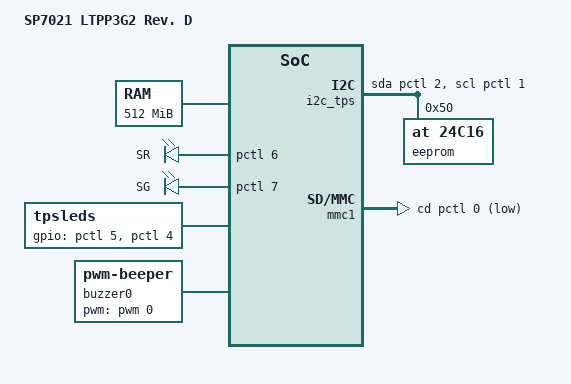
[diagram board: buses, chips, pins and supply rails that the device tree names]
/dts-v1/;

#include "sp7021-ChipC.dtsi"

/ {
	model = "SP7021 LTPP3G2 Rev. D";

	chosen {
		bootargs = "console=ttyS0,115200 root=/dev/ram rw loglevel=8 earlyprintk";
		stdout-path = "serial0:115200n8";
	};

	memory {
		reg = <0x00000000 0x20000000>; /* 512MB */
	};
};

&rtc {  charging-mode = <0x0E>;  };

&sp_spinor0 {  status = "disabled";  };
&spi_controller0 {  status = "disabled";  };
&spi_controller1 {  status = "disabled";  };
&spi_controller2 {  status = "disabled";  };
&spi_controller3 {  status = "disabled";  };

&sdio {
 pinctrl-names = "default";
 pinctrl-0 = <&pins_sdio &pins_sdio_reset>;
 bus-width = <4>;
 max-frequency = <40000000>; /* up to 52 */
 // this: enable
 status = "disabled";
 brcmf1: bcrmf@1 {
   reg = <1>;
   compatible = "android,bcmdhd_wlan";
   reset-gpios = <&pctl 83 GPIO_ACTIVE_LOW>;
 };
};

&sp_uphy0 {
 pinctrl-names = "default";
 pinctrl-0 = <&pins_vbus_usb0>;
 vbus-gpio = <&pctl 90 GPIO_ACTIVE_HIGH>;
};

&sp_uphy1 {
  pinctrl-names = "default";
  pinctrl-0 = <&pins_vbus_usb1>;
  vbus-gpio = <&pctl 91 GPIO_ACTIVE_HIGH>;
};

&l2sw {
 pinctrl-names = "default";
 pinctrl-0 = <&ethA_pins &eth0_pins &eth1_pins>;
};

&mmc0 {
 pinctrl-names = "default";
 pinctrl-0 = <&emmc_mux>;
};

&mmc1 {
 pinctrl-names = "default";
 pinctrl-0 = <&mmc1_mux>;
 cd-gpios = <&pctl 0 GPIO_ACTIVE_LOW>;
};

&hdmitx {
 pinctrl-names = "default";
 pinctrl-0 = <&hdmi_A_tx1>;
};

&uart1 {
 pinctrl-names = "default";
 pinctrl-0 = <&pins_uart1>;
 status = "disabled";
 // this: enable, pins_uart1
};
&uart2 {
 pinctrl-names = "default";
 pinctrl-0 = <&pins_uart2>;
 status = "disabled";
 // this: enable, pins_uart2
};
&uart3 {
 pinctrl-names = "default";
 pinctrl-0 = <&pins_uart3>;
 status = "disabled";
 // this: enable, pins_uart3
};
&uart4 {
 pinctrl-names = "default";
 /* pinctrl-0 = <&pins_uart4>; */
 pinctrl-0 = <&pins_btuart &pins_bt_reset>;
 status = "disabled";
 // this: enable (bt) | enable (uart4), pins_uart4
};

&i2cm0 {  status = "disabled";  };
&i2cm1 {  status = "disabled";  };
&i2cm2 {  status = "disabled";  };
&i2cm3 {  status = "disabled";  };

&pctl {
 /*** all non-device binded that you want to set mode ***/
 pinctrl-names = "default";
 pinctrl-0 = <&pins_iopp_nobinded &pins_gpio_nobinded &func_zero>;

 /* detouch any preset pins from this functions */
 func_zero: func_zero {
   sppctl,zero_func = <
     MUXF_L2SW_LED_FLASH0
     MUXF_L2SW_LED_ON0
     MUXF_L2SW_LED_FLASH1
     MUXF_L2SW_LED_ON1
     MUXF_L2SW_P0_MAC_RMII_RXER
     MUXF_L2SW_P1_MAC_RMII_RXER
     GROP_SPI_FLASH
   >;
 };
 
 pins_iopp_nobinded: pins_iopp_nobinded {
    sppctl,pins = <
    /* SPPCTL_IOPAD(97,SPPCTL_PCTL_G_IOPP,0,0) */
    >;
 };
 pins_gpio_nobinded: pins_gpio_nobinded {
    sppctl,pins = <
      /*SPPCTL_IOPAD(42,SPPCTL_PCTL_G_GPIO,0,0)*/   /* was L2SW_LED_FLASH0 */
      /*SPPCTL_IOPAD(51,SPPCTL_PCTL_G_GPIO,0,0)*/   /* was L2SW_LED_ON0 */
      SPPCTL_IOPAD(30,SPPCTL_PCTL_G_GPIO,0,0)   /* was L2SW_LED_FLASH1 */
      SPPCTL_IOPAD(39,SPPCTL_PCTL_G_GPIO,0,0)   /* was L2SW_LED_ON1  */
    >;
 };

 pins_vbus_usb0: pins_vbus_usb0 {
	sppctl,pins = <
	  SPPCTL_IOPAD(90,SPPCTL_PCTL_G_GPIO,0,SPPCTL_PCTL_L_OUT)
	>;
 };
 pins_vbus_usb1: pins_vbus_usb1 {
    sppctl,pins = <
	  SPPCTL_IOPAD(91,SPPCTL_PCTL_G_GPIO,0,SPPCTL_PCTL_L_OUT)
	>;
 };

 leds_s0_def: user_leds_s0_def {
    sppctl,pins = <
      SPPCTL_IOPAD(6,SPPCTL_PCTL_G_GPIO,MUXF_GPIO,SPPCTL_PCTL_L_INV)
      SPPCTL_IOPAD(7,SPPCTL_PCTL_G_GPIO,0,SPPCTL_PCTL_L_INV)
    >;
 };
 leds_s0_slp: user_leds_s0_slp {
    sppctl,pins = <
      SPPCTL_IOPAD(6,SPPCTL_PCTL_G_GPIO,0,0)
      SPPCTL_IOPAD(7,SPPCTL_PCTL_G_GPIO,0,0)
    >;
 };
 tpsleds_pins: user_tpsleds_pins {
    sppctl,pins = <
      SPPCTL_IOPAD(4,SPPCTL_PCTL_G_GPIO,0,0)
      SPPCTL_IOPAD(5,SPPCTL_PCTL_G_GPIO,0,0)
    >;
 };
// this:
 pins_uart1: pins_uart1 {
    sppctl,pins = <
      SPPCTL_IOPAD(8,SPPCTL_PCTL_G_PMUX,MUXF_UA1_TX,0)
      SPPCTL_IOPAD(9,SPPCTL_PCTL_G_PMUX,MUXF_UA1_RX,0)
      SPPCTL_IOPAD(10,SPPCTL_PCTL_G_PMUX,MUXF_UA1_RTS,0)
      SPPCTL_IOPAD(11,SPPCTL_PCTL_G_PMUX,MUXF_UA1_CTS,0)
    >;
 };
// this/
// this:
 pins_uart2: pins_uart2 {
    sppctl,pins = <
      SPPCTL_IOPAD(12,SPPCTL_PCTL_G_PMUX,MUXF_UA2_TX,0)
      SPPCTL_IOPAD(13,SPPCTL_PCTL_G_PMUX,MUXF_UA2_RX,0)
      SPPCTL_IOPAD(14,SPPCTL_PCTL_G_PMUX,MUXF_UA2_RTS,0)
      SPPCTL_IOPAD(15,SPPCTL_PCTL_G_PMUX,MUXF_UA2_CTS,0)
    >;
 };
// this/
// this:
 pins_uart3: pins_uart3 {
    sppctl,pins = <
      SPPCTL_IOPAD(16,SPPCTL_PCTL_G_PMUX,MUXF_UA3_TX,0)
      SPPCTL_IOPAD(17,SPPCTL_PCTL_G_PMUX,MUXF_UA3_RX,0)
      SPPCTL_IOPAD(18,SPPCTL_PCTL_G_PMUX,MUXF_UA3_RTS,0)
      SPPCTL_IOPAD(19,SPPCTL_PCTL_G_PMUX,MUXF_UA3_CTS,0)
    >;
 };
// this/
// this:
 pins_uart4: pins_uart4 {
    sppctl,pins = <
      SPPCTL_IOPAD(20,SPPCTL_PCTL_G_PMUX,MUXF_UA4_TX,0)
      SPPCTL_IOPAD(21,SPPCTL_PCTL_G_PMUX,MUXF_UA4_RX,0)
      SPPCTL_IOPAD(22,SPPCTL_PCTL_G_PMUX,MUXF_UA4_RTS,0)
      SPPCTL_IOPAD(23,SPPCTL_PCTL_G_PMUX,MUXF_UA4_CTS,0)
    >;
 };
// this/
 pins_btuart: pins_btuart {
    sppctl,pins = <
      SPPCTL_IOPAD(40,SPPCTL_PCTL_G_PMUX,MUXF_UA4_RX,0)
      SPPCTL_IOPAD(41,SPPCTL_PCTL_G_PMUX,MUXF_UA4_TX,0)
      SPPCTL_IOPAD(56,SPPCTL_PCTL_G_PMUX,MUXF_UA4_RTS,SPPCTL_PCTL_L_ONV)
      SPPCTL_IOPAD(49,SPPCTL_PCTL_G_PMUX,MUXF_UA4_CTS,0)
    >;
 };
 pins_bt_reset: pins_bt_reset {
    sppctl,pins = <
      SPPCTL_IOPAD(82,SPPCTL_PCTL_G_GPIO,0,0)
    >;
 };
 buzzer0_pins: user_buzzer0_pins {
    sppctl,pins = <
      SPPCTL_IOPAD(48,SPPCTL_PCTL_G_PMUX,MUXF_PWM0,0)
    >;
 };
 pins_i2ctps: pins_i2ctps {
    sppctl,pins = <
      SPPCTL_IOPAD(1,SPPCTL_PCTL_G_GPIO,0,SPPCTL_PCTL_L_OUT|SPPCTL_PCTL_L_ONV|SPPCTL_PCTL_L_ODR)
      SPPCTL_IOPAD(2,SPPCTL_PCTL_G_GPIO,0,SPPCTL_PCTL_L_OUT|SPPCTL_PCTL_L_ONV|SPPCTL_PCTL_L_ODR)
    >;
 };
 hdmi_A_tx1: hdmi_A_tx1_pins {
    sppctl,groups = "HDMI_TX1";
    sppctl,function = "HDMI_TX";
 };
 /* for all eth */
 ethA_pins: pinmux_ethA_pins {
  sppctl,pins = <
       SPPCTL_IOPAD(63,SPPCTL_PCTL_G_PMUX,MUXF_L2SW_CLK_OUT,0)
       SPPCTL_IOPAD(71,SPPCTL_PCTL_G_PMUX,MUXF_L2SW_MAC_SMI_MDC,0)
       SPPCTL_IOPAD(64,SPPCTL_PCTL_G_PMUX,MUXF_L2SW_MAC_SMI_MDIO,0)
  >;
 };
 eth0_pins: pinmux_eth0_pins {
  sppctl,pins = <
       SPPCTL_IOPAD(62,SPPCTL_PCTL_G_PMUX,MUXF_L2SW_P0_MAC_RMII_TXEN,0)
       SPPCTL_IOPAD(61,SPPCTL_PCTL_G_PMUX,MUXF_L2SW_P0_MAC_RMII_TXD0,0)
       SPPCTL_IOPAD(60,SPPCTL_PCTL_G_PMUX,MUXF_L2SW_P0_MAC_RMII_TXD1,0)
       SPPCTL_IOPAD(59,SPPCTL_PCTL_G_PMUX,MUXF_L2SW_P0_MAC_RMII_CRSDV,0)
       SPPCTL_IOPAD(58,SPPCTL_PCTL_G_PMUX,MUXF_L2SW_P0_MAC_RMII_RXD0,0)
       SPPCTL_IOPAD(57,SPPCTL_PCTL_G_PMUX,MUXF_L2SW_P0_MAC_RMII_RXD1,0)
  >;
 };
 eth1_pins: pinmux_eth1_pins {
  sppctl,pins = <
       SPPCTL_IOPAD(55,SPPCTL_PCTL_G_PMUX,MUXF_L2SW_P1_MAC_RMII_TXEN,0)
       SPPCTL_IOPAD(54,SPPCTL_PCTL_G_PMUX,MUXF_L2SW_P1_MAC_RMII_TXD0,0)
       SPPCTL_IOPAD(53,SPPCTL_PCTL_G_PMUX,MUXF_L2SW_P1_MAC_RMII_TXD1,0)
       SPPCTL_IOPAD(52,SPPCTL_PCTL_G_PMUX,MUXF_L2SW_P1_MAC_RMII_CRSDV,0)
       SPPCTL_IOPAD(51,SPPCTL_PCTL_G_PMUX,MUXF_L2SW_P1_MAC_RMII_RXD0,0)
       SPPCTL_IOPAD(50,SPPCTL_PCTL_G_PMUX,MUXF_L2SW_P1_MAC_RMII_RXD1,0)
  >;
 };

 mmc1_mux: mmc1_mux {
	sppctl,groups = "SD_CARD";
	sppctl,function = "SD_CARD";
	sppctl,pins = < SPPCTL_IOPAD(0,SPPCTL_PCTL_G_GPIO,0,0) >;
 };
 pins_sdio: pins_sdio {
	sppctl,pins = <
		SPPCTL_IOPAD(44,SPPCTL_PCTL_G_PMUX,MUXF_SDIO_D1,0)
		SPPCTL_IOPAD(45,SPPCTL_PCTL_G_PMUX,MUXF_SDIO_D0,0)
		SPPCTL_IOPAD(46,SPPCTL_PCTL_G_PMUX,MUXF_SDIO_CLK,0)
		SPPCTL_IOPAD(47,SPPCTL_PCTL_G_PMUX,MUXF_SDIO_CMD,0)
		SPPCTL_IOPAD(42,SPPCTL_PCTL_G_PMUX,MUXF_SDIO_D3,0)
		SPPCTL_IOPAD(43,SPPCTL_PCTL_G_PMUX,MUXF_SDIO_D2,0) >;
 };
 pins_sdio_reset: pins_sdio_reset {
	sppctl,pins = <
		/* additional reset pin for BRCM */
		SPPCTL_IOPAD(83,SPPCTL_PCTL_G_GPIO,0,SPPCTL_PCTL_L_OU1)
	>;
 };

};

/ {
	soc@B {
		tpsid {
        	    compatible = "tpsid";
		    nvmem-cell-names = "mac_addr0";
		    nvmem-cells = <&mac_addr0>;
		};
		leds {
		    pinctrl-names = "default", "sleep";
		    pinctrl-0 = <&leds_s0_def>;
		    pinctrl-1 = <&leds_s0_slp>;
		    compatible = "gpio-leds";
		    led@1 {
			label = "SR";
			gpios = <&pctl 6 GPIO_ACTIVE_HIGH>;
			linux,default-trigger = "heartbeat";
			default-state = "off";
		    };
		    led@2 {
			label = "SG";
			gpios = <&pctl 7 GPIO_ACTIVE_HIGH>;
			linux,default-trigger = "mmc0";
			default-state = "off";
		    };
		};
		tpsleds: tpsleds {
		    compatible = "tpsleds";
		    pinctrl-names = "default";
		    pinctrl-0 = <&tpsleds_pins>;
		    status = "okay";
		    init-val = <0x0>;
		    gpios = <&pctl 5 GPIO_ACTIVE_HIGH
			     &pctl 4 GPIO_ACTIVE_HIGH
		    >;
		};
		buzzer0 {
		    compatible = "pwm-beeper";
		    pinctrl-names = "default";
		    pinctrl-0 = <&buzzer0_pins>;
		    pwms = <&pwm 0 1000000 0>;
		};
		i2c_tps: i2c-tps { /* eeprom */
		    compatible = "i2c-gpio";
		    i2c-gpio,scl-open-drain;
		    i2c-gpio,sda-open-drain;
		    i2c-gpio,delay-us = <1>;/* ~100 kHz */
		    #address-cells = <1>;
		    #size-cells = <0>;
		    pinctrl-names = "default";
		    pinctrl-0 = <&pins_i2ctps>;
		    gpios = <&pctl 2 GPIO_ACTIVE_HIGH     /* SDA */
			     &pctl 1 GPIO_ACTIVE_HIGH     /* SCL */
                    >;
		    eeprom: eeprom@50 {
			compatible = "at,24c16";
			reg = <0x50>;
			pagesize = <16>;
		    };
		};
	};
};
